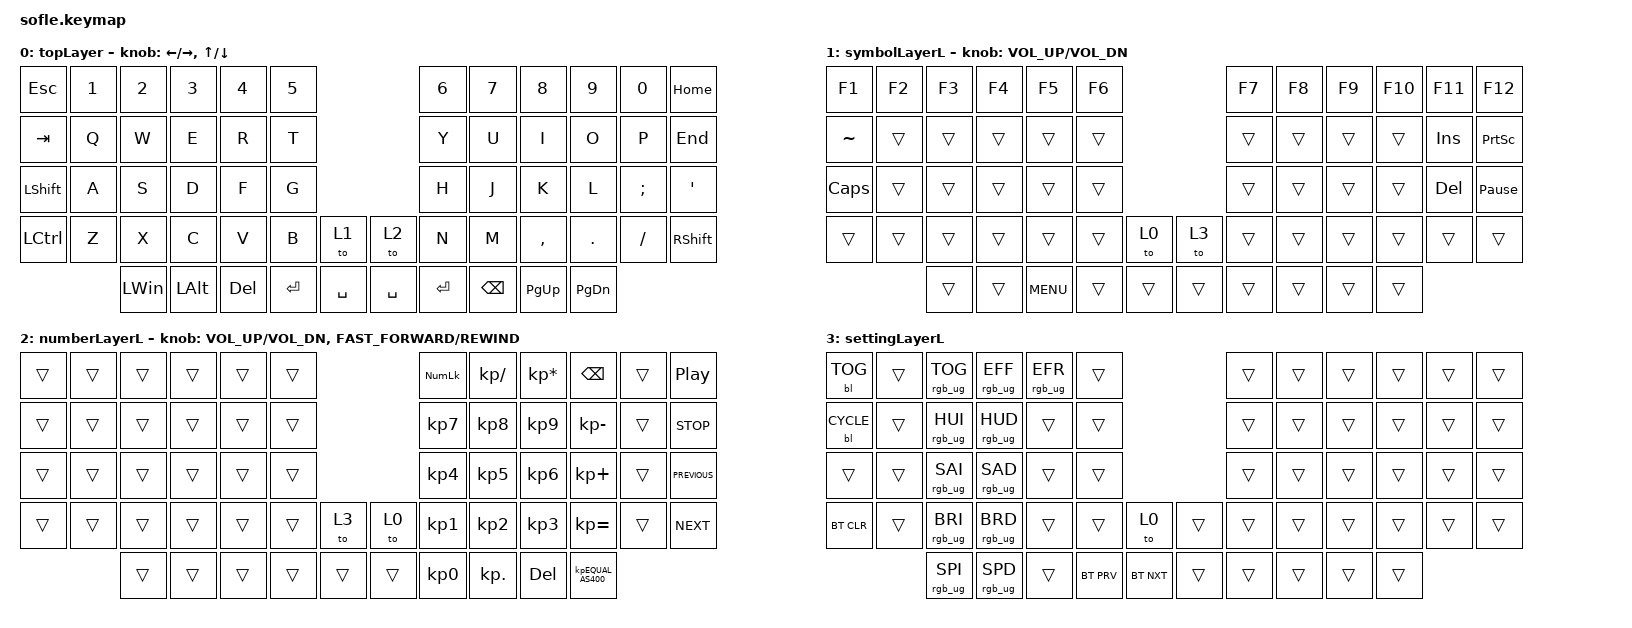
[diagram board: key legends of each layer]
/*
 * Copyright (c) 2020 The ZMK Contributors
 *
 * SPDX-License-Identifier: MIT
 */

#include <behaviors.dtsi>
#include <dt-bindings/zmk/backlight.h>
#include <dt-bindings/zmk/bt.h>
#include <dt-bindings/zmk/keys.h>
#include <dt-bindings/zmk/rgb.h>

#define BASE 0
#define LOWER 1
#define RAISE 2
#define ADJUST 3

/ {
    // Activate ADJUST layer by pressing raise and lower

    conditional_layers {
        compatible = "zmk,conditional-layers";

        adjust_layer {
            if-layers = <2 1>;
            then-layer = <1>;
        };
    };

    macros {
        a_with_diaeresis: a_with_diaeresis {
            compatible = "zmk,behavior-macro";
            #binding-cells = <0>;
            bindings = <&kp RALT &kp KP_NUMBER_0 &kp KP_NUMBER_2 &kp KP_NUMBER_2 &kp KP_NUMBER_8>;
            label = "A_WITH_DIAERESIS";
        };

        eszett: eszett {
            compatible = "zmk,behavior-macro";
            #binding-cells = <0>;
            bindings = <&kp RALT &kp KP_NUMBER_0 &kp KP_NUMBER_2 &kp KP_NUMBER_2 &kp KP_NUMBER_3>;
            label = "ESZETT";
        };

        o_with_diaresis: o_with_diaresis {
            compatible = "zmk,behavior-macro";
            #binding-cells = <0>;
            bindings = <&kp RALT &kp KP_NUMBER_0 &kp KP_NUMBER_2 &kp KP_NUMBER_4 &kp KP_NUMBER_6>;
            label = "O_WITH_DIARESIS";
        };

        u_with_diaresis: u_with_diearesis {
            compatible = "zmk,behavior-macro";
            #binding-cells = <0>;
            bindings = <&kp RALT &kp KP_NUMBER_0 &kp KP_NUMBER_2 &kp KP_NUMBER_5 &kp KP_NUMBER_2>;
            label = "U_WITH_DIEARESIS";
        };

        ene: ene {
            compatible = "zmk,behavior-macro";
            #binding-cells = <0>;
            bindings = <&kp RALT &kp KP_NUMBER_1 &kp KP_NUMBER_6 &kp KP_NUMBER_4>;
            label = "ENE";
        };

        cedilla: cedilla {
            compatible = "zmk,behavior-macro";
            #binding-cells = <0>;
            bindings = <&kp RALT &kp KP_NUMBER_0 &kp KP_NUMBER_2 &kp KP_NUMBER_3 &kp KP_NUMBER_1>;
            label = "CEDILLA";
        };
    };

    keymap {
        compatible = "zmk,keymap";

        tapLayer {
            label = "topLayer";

            // ------------------------------------------------------------------------------------------------------------
            // |   `   |  1  |  2  |  3   |  4   |  5   |                   |  6   |  7    |  8    |  9   |   0   |       |
            // |  ESC  |  Q  |  W  |  E   |  R   |  T   |                   |  Y   |  U    |  I    |  O   |   P   | BKSPC |
            // |  TAB  |  A  |  S  |  D   |  F   |  G   |                   |  H   |  J    |  K    |  L   |   ;   |   '   |
            // | SHIFT |  Z  |  X  |  C   |  V   |  B   |  MUTE  |  |       |  N   |  M    |  ,    |  .   |   /   | SHIFT |
            //               | GUI | ALT  | CTRL | LOWER|  ENTER |  | SPACE | RAISE| CTRL  | ALT   | GUI  |

            bindings = <
&kp ESCAPE      &kp NUMBER_1  &kp NUMBER_2  &kp NUMBER_3  &kp NUMBER_4  &kp N5                             &kp NUMBER_6  &kp N7         &kp N8       &kp N9         &kp N0         &kp HOME
&kp TAB         &kp Q         &kp W         &kp E         &kp R         &kp T                              &kp Y         &kp U          &kp I        &kp O          &kp P          &kp END
&kp LEFT_SHIFT  &kp A         &kp S         &kp D         &kp F         &kp G                              &kp H         &kp J          &kp K        &kp L          &kp SEMICOLON  &kp APOSTROPHE
&kp LCTRL       &kp Z         &kp X         &kp C         &kp V         &kp B      &to 1        &to 2      &kp N         &kp M          &kp COMMA    &kp DOT        &kp SLASH      &kp RIGHT_SHIFT
                              &kp LWIN      &kp LALT      &kp DELETE    &kp ENTER  &kp SPACE    &kp SPACE  &kp ENTER     &kp BACKSPACE  &kp PAGE_UP  &kp PAGE_DOWN
            >;

            sensor-bindings = <&inc_dec_kp LEFT RIGHT>, <&inc_dec_kp UP DOWN>;
        };

        symbolLayerL {
            bindings = <
&kp F1     &kp F2  &kp F3  &kp F4  &kp F5      &kp F6                    &kp F7  &kp F8  &kp F9  &kp F10  &kp F11     &kp F12
&kp TILDE  &trans  &trans  &trans  &trans      &trans                    &trans  &trans  &trans  &trans   &kp INSERT  &kp PRINTSCREEN
&kp CAPS   &trans  &trans  &trans  &trans      &trans                    &trans  &trans  &trans  &trans   &kp DEL     &kp PAUSE_BREAK
&trans     &trans  &trans  &trans  &trans      &trans  &to 0     &to 3   &trans  &trans  &trans  &trans   &trans      &trans
                   &trans  &trans  &kp C_MENU  &trans  &trans    &trans  &trans  &trans  &trans  &trans
            >;

            sensor-bindings = <&inc_dec_kp C_VOL_UP C_VOL_DN>;
            label = "symbolLayerL";
        };

        numberLayerL {
            bindings = <
&trans  &trans  &trans  &trans  &trans  &trans                    &kp KP_NUMLOCK   &kp KP_DIVIDE    &kp KP_MULTIPLY  &kp BACKSPACE       &trans  &kp C_PLAY_PAUSE
&trans  &trans  &trans  &trans  &trans  &trans                    &kp KP_NUMBER_7  &kp KP_NUMBER_8  &kp KP_NUMBER_9  &kp KP_MINUS        &trans  &kp C_STOP
&trans  &trans  &trans  &trans  &trans  &trans                    &kp KP_NUMBER_4  &kp KP_NUMBER_5  &kp KP_NUMBER_6  &kp KP_PLUS         &trans  &kp C_PREVIOUS
&trans  &trans  &trans  &trans  &trans  &trans  &to 3     &to 0   &kp KP_NUMBER_1  &kp KP_NUMBER_2  &kp KP_NUMBER_3  &kp KP_EQUAL        &trans  &kp C_NEXT
                &trans  &trans  &trans  &trans  &trans    &trans  &kp KP_NUMBER_0  &kp KP_DOT       &kp DELETE       &kp KP_EQUAL_AS400
            >;

            sensor-bindings =
                <&inc_dec_kp C_VOL_UP C_VOL_DN>,
                <&inc_dec_kp C_FAST_FORWARD C_REWIND>;

            label = "numberLayerL";
        };

        settingLayerL {
            bindings = <
&bl BL_TOG    &trans  &rgb_ug RGB_TOG  &rgb_ug RGB_EFF  &rgb_ug RGB_EFR  &trans                            &trans  &trans  &trans  &trans  &trans  &trans
&bl BL_CYCLE  &trans  &rgb_ug RGB_HUI  &rgb_ug RGB_HUD  &trans           &trans                            &trans  &trans  &trans  &trans  &trans  &trans
&trans        &trans  &rgb_ug RGB_SAI  &rgb_ug RGB_SAD  &trans           &trans                            &trans  &trans  &trans  &trans  &trans  &trans
&bt BT_CLR    &trans  &rgb_ug RGB_BRI  &rgb_ug RGB_BRD  &trans           &trans      &to 0         &trans  &trans  &trans  &trans  &trans  &trans  &trans
                      &rgb_ug RGB_SPI  &rgb_ug RGB_SPD  &trans           &bt BT_PRV  &bt BT_NXT    &trans  &trans  &trans  &trans  &trans
            >;

            label = "settingLayerL";
        };
    };
};
